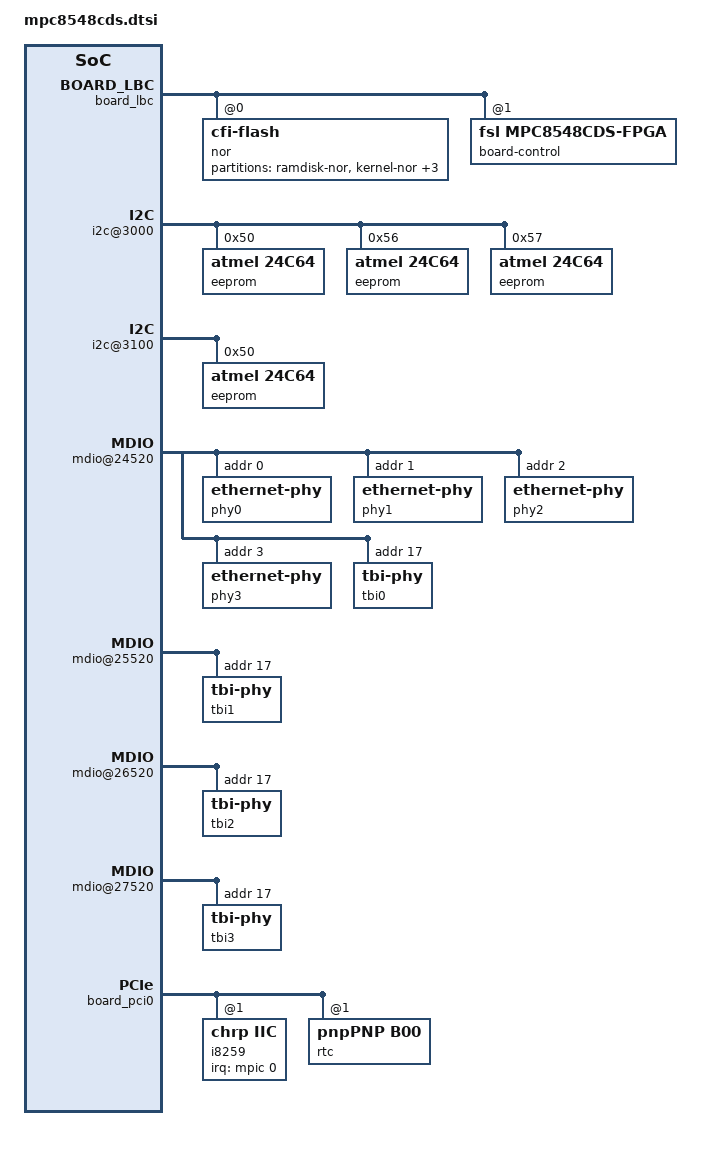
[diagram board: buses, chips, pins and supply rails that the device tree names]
/*
 * MPC8548CDS Device Tree Source stub (no addresses or top-level ranges)
 *
 * Copyright 2012 Freescale Semiconductor Inc.
 *
 * Redistribution and use in source and binary forms, with or without
 * modification, are permitted provided that the following conditions are met:
 *     * Redistributions of source code must retain the above copyright
 *       notice, this list of conditions and the following disclaimer.
 *     * Redistributions in binary form must reproduce the above copyright
 *       notice, this list of conditions and the following disclaimer in the
 *       documentation and/or other materials provided with the distribution.
 *     * Neither the name of Freescale Semiconductor nor the
 *       names of its contributors may be used to endorse or promote products
 *       derived from this software without specific prior written permission.
 *
 *
 * ALTERNATIVELY, this software may be distributed under the terms of the
 * GNU General Public License ("GPL") as published by the Free Software
 * Foundation, either version 2 of that License or (at your option) any
 * later version.
 *
 * THIS SOFTWARE IS PROVIDED BY Freescale Semiconductor ``AS IS'' AND ANY
 * EXPRESS OR IMPLIED WARRANTIES, INCLUDING, BUT NOT LIMITED TO, THE IMPLIED
 * WARRANTIES OF MERCHANTABILITY AND FITNESS FOR A PARTICULAR PURPOSE ARE
 * DISCLAIMED. IN NO EVENT SHALL Freescale Semiconductor BE LIABLE FOR ANY
 * DIRECT, INDIRECT, INCIDENTAL, SPECIAL, EXEMPLARY, OR CONSEQUENTIAL DAMAGES
 * (INCLUDING, BUT NOT LIMITED TO, PROCUREMENT OF SUBSTITUTE GOODS OR SERVICES;
 * LOSS OF USE, DATA, OR PROFITS; OR BUSINESS INTERRUPTION) HOWEVER CAUSED AND
 * ON ANY THEORY OF LIABILITY, WHETHER IN CONTRACT, STRICT LIABILITY, OR TORT
 * (INCLUDING NEGLIGENCE OR OTHERWISE) ARISING IN ANY WAY OUT OF THE USE OF THIS
 * SOFTWARE, EVEN IF ADVISED OF THE POSSIBILITY OF SUCH DAMAGE.
 */

&board_lbc {
	nor@0,0 {
		#address-cells = <1>;
		#size-cells = <1>;
		compatible = "cfi-flash";
		reg = <0x0 0x0 0x01000000>;
		bank-width = <2>;
		device-width = <2>;

		partition@0 {
			reg = <0x0 0x0b00000>;
			label = "ramdisk-nor";
		};

		partition@300000 {
			reg = <0x0b00000 0x0400000>;
			label = "kernel-nor";
		};

		partition@700000 {
			reg = <0x0f00000 0x060000>;
			label = "dtb-nor";
		};

		partition@760000 {
			reg = <0x0f60000 0x020000>;
			label = "env-nor";
			read-only;
		};

		partition@780000 {
			reg = <0x0f80000 0x080000>;
			label = "u-boot-nor";
			read-only;
		};
	};

	board-control@1,0 {
		compatible = "fsl,mpc8548cds-fpga";
		reg = <0x1 0x0 0x1000>;
	};
};

&board_soc {
	i2c@3000 {
		eeprom@50 {
			compatible = "atmel,24c64";
			reg = <0x50>;
		};

		eeprom@56 {
			compatible = "atmel,24c64";
			reg = <0x56>;
		};

		eeprom@57 {
			compatible = "atmel,24c64";
			reg = <0x57>;
		};
	};

	i2c@3100 {
		eeprom@50 {
			compatible = "atmel,24c64";
			reg = <0x50>;
		};
	};

	enet0: ethernet@24000 {
		tbi-handle = <&tbi0>;
		phy-handle = <&phy0>;
	};

	mdio@24520 {
		phy0: ethernet-phy@0 {
			interrupts = <5 1 0 0>;
			reg = <0x0>;
			device_type = "ethernet-phy";
		};
		phy1: ethernet-phy@1 {
			interrupts = <5 1 0 0>;
			reg = <0x1>;
			device_type = "ethernet-phy";
		};
		phy2: ethernet-phy@2 {
			interrupts = <5 1 0 0>;
			reg = <0x2>;
			device_type = "ethernet-phy";
		};
		phy3: ethernet-phy@3 {
			interrupts = <5 1 0 0>;
			reg = <0x3>;
			device_type = "ethernet-phy";
		};
		tbi0: tbi-phy@11 {
			reg = <0x11>;
			device_type = "tbi-phy";
		};
	};

	enet1: ethernet@25000 {
		tbi-handle = <&tbi1>;
		phy-handle = <&phy1>;
	};

	mdio@25520 {
		tbi1: tbi-phy@11 {
			reg = <0x11>;
			device_type = "tbi-phy";
		};
	};

	enet2: ethernet@26000 {
		tbi-handle = <&tbi2>;
		phy-handle = <&phy2>;
	};

	mdio@26520 {
		tbi2: tbi-phy@11 {
			reg = <0x11>;
			device_type = "tbi-phy";
		};
	};

	enet3: ethernet@27000 {
		tbi-handle = <&tbi3>;
		phy-handle = <&phy3>;
	};

	mdio@27520 {
		tbi3: tbi-phy@11 {
			reg = <0x11>;
			device_type = "tbi-phy";
		};
	};
};

&board_pci0 {
	interrupt-map-mask = <0xf800 0x0 0x0 0x7>;
	interrupt-map = <
		/* IDSEL 0x4 (PCIX Slot 2) */
		0x2000 0x0 0x0 0x1 &mpic 0x0 0x1 0 0
		0x2000 0x0 0x0 0x2 &mpic 0x1 0x1 0 0
		0x2000 0x0 0x0 0x3 &mpic 0x2 0x1 0 0
		0x2000 0x0 0x0 0x4 &mpic 0x3 0x1 0 0

		/* IDSEL 0x5 (PCIX Slot 3) */
		0x2800 0x0 0x0 0x1 &mpic 0x1 0x1 0 0
		0x2800 0x0 0x0 0x2 &mpic 0x2 0x1 0 0
		0x2800 0x0 0x0 0x3 &mpic 0x3 0x1 0 0
		0x2800 0x0 0x0 0x4 &mpic 0x0 0x1 0 0

		/* IDSEL 0x6 (PCIX Slot 4) */
		0x3000 0x0 0x0 0x1 &mpic 0x2 0x1 0 0
		0x3000 0x0 0x0 0x2 &mpic 0x3 0x1 0 0
		0x3000 0x0 0x0 0x3 &mpic 0x0 0x1 0 0
		0x3000 0x0 0x0 0x4 &mpic 0x1 0x1 0 0

		/* IDSEL 0x8 (PCIX Slot 5) */
		0x4000 0x0 0x0 0x1 &mpic 0x0 0x1 0 0
		0x4000 0x0 0x0 0x2 &mpic 0x1 0x1 0 0
		0x4000 0x0 0x0 0x3 &mpic 0x2 0x1 0 0
		0x4000 0x0 0x0 0x4 &mpic 0x3 0x1 0 0

		/* IDSEL 0xC (Tsi310 bridge) */
		0x6000 0x0 0x0 0x1 &mpic 0x0 0x1 0 0
		0x6000 0x0 0x0 0x2 &mpic 0x1 0x1 0 0
		0x6000 0x0 0x0 0x3 &mpic 0x2 0x1 0 0
		0x6000 0x0 0x0 0x4 &mpic 0x3 0x1 0 0

		/* IDSEL 0x14 (Slot 2) */
		0xa000 0x0 0x0 0x1 &mpic 0x0 0x1 0 0
		0xa000 0x0 0x0 0x2 &mpic 0x1 0x1 0 0
		0xa000 0x0 0x0 0x3 &mpic 0x2 0x1 0 0
		0xa000 0x0 0x0 0x4 &mpic 0x3 0x1 0 0

		/* IDSEL 0x15 (Slot 3) */
		0xa800 0x0 0x0 0x1 &mpic 0x1 0x1 0 0
		0xa800 0x0 0x0 0x2 &mpic 0x2 0x1 0 0
		0xa800 0x0 0x0 0x3 &mpic 0x3 0x1 0 0
		0xa800 0x0 0x0 0x4 &mpic 0x0 0x1 0 0

		/* IDSEL 0x16 (Slot 4) */
		0xb000 0x0 0x0 0x1 &mpic 0x2 0x1 0 0
		0xb000 0x0 0x0 0x2 &mpic 0x3 0x1 0 0
		0xb000 0x0 0x0 0x3 &mpic 0x0 0x1 0 0
		0xb000 0x0 0x0 0x4 &mpic 0x1 0x1 0 0

		/* IDSEL 0x18 (Slot 5) */
		0xc000 0x0 0x0 0x1 &mpic 0x0 0x1 0 0
		0xc000 0x0 0x0 0x2 &mpic 0x1 0x1 0 0
		0xc000 0x0 0x0 0x3 &mpic 0x2 0x1 0 0
		0xc000 0x0 0x0 0x4 &mpic 0x3 0x1 0 0

		/* IDSEL 0x1C (Tsi310 bridge PCI primary) */
		0xe000 0x0 0x0 0x1 &mpic 0x0 0x1 0 0
		0xe000 0x0 0x0 0x2 &mpic 0x1 0x1 0 0
		0xe000 0x0 0x0 0x3 &mpic 0x2 0x1 0 0
		0xe000 0x0 0x0 0x4 &mpic 0x3 0x1 0 0>;

	pci_bridge@1c {
		interrupt-map-mask = <0xf800 0x0 0x0 0x7>;
		interrupt-map = <

			/* IDSEL 0x00 (PrPMC Site) */
			0000 0x0 0x0 0x1 &mpic 0x0 0x1 0 0
			0000 0x0 0x0 0x2 &mpic 0x1 0x1 0 0
			0000 0x0 0x0 0x3 &mpic 0x2 0x1 0 0
			0000 0x0 0x0 0x4 &mpic 0x3 0x1 0 0

			/* IDSEL 0x04 (VIA chip) */
			0x2000 0x0 0x0 0x1 &mpic 0x0 0x1 0 0
			0x2000 0x0 0x0 0x2 &mpic 0x1 0x1 0 0
			0x2000 0x0 0x0 0x3 &mpic 0x2 0x1 0 0
			0x2000 0x0 0x0 0x4 &mpic 0x3 0x1 0 0

			/* IDSEL 0x05 (8139) */
			0x2800 0x0 0x0 0x1 &mpic 0x1 0x1 0 0

			/* IDSEL 0x06 (Slot 6) */
			0x3000 0x0 0x0 0x1 &mpic 0x2 0x1 0 0
			0x3000 0x0 0x0 0x2 &mpic 0x3 0x1 0 0
			0x3000 0x0 0x0 0x3 &mpic 0x0 0x1 0 0
			0x3000 0x0 0x0 0x4 &mpic 0x1 0x1 0 0

			/* IDESL 0x07 (Slot 7) */
			0x3800 0x0 0x0 0x1 &mpic 0x3 0x1 0 0
			0x3800 0x0 0x0 0x2 &mpic 0x0 0x1 0 0
			0x3800 0x0 0x0 0x3 &mpic 0x1 0x1 0 0
			0x3800 0x0 0x0 0x4 &mpic 0x2 0x1 0 0>;

		reg = <0xe000 0x0 0x0 0x0 0x0>;
		#interrupt-cells = <1>;
		#size-cells = <2>;
		#address-cells = <3>;
		ranges = <0x2000000 0x0 0x80000000
			  0x2000000 0x0 0x80000000
			  0x0 0x20000000
			  0x1000000 0x0 0x0
			  0x1000000 0x0 0x0
			  0x0 0x80000>;
		clock-frequency = <33333333>;

		isa@4 {
			device_type = "isa";
			#interrupt-cells = <2>;
			#size-cells = <1>;
			#address-cells = <2>;
			reg = <0x2000 0x0 0x0 0x0 0x0>;
			ranges = <0x1 0x0 0x1000000 0x0 0x0 0x1000>;
			interrupt-parent = <&i8259>;

			i8259: interrupt-controller@20 {
				interrupt-controller;
				device_type = "interrupt-controller";
				reg = <0x1 0x20 0x2
				       0x1 0xa0 0x2
				       0x1 0x4d0 0x2>;
				#address-cells = <0>;
				#interrupt-cells = <2>;
				compatible = "chrp,iic";
				interrupts = <0 1 0 0>;
				interrupt-parent = <&mpic>;
			};

			rtc@70 {
				compatible = "pnpPNP,b00";
				reg = <0x1 0x70 0x2>;
			};
		};
	};
};
